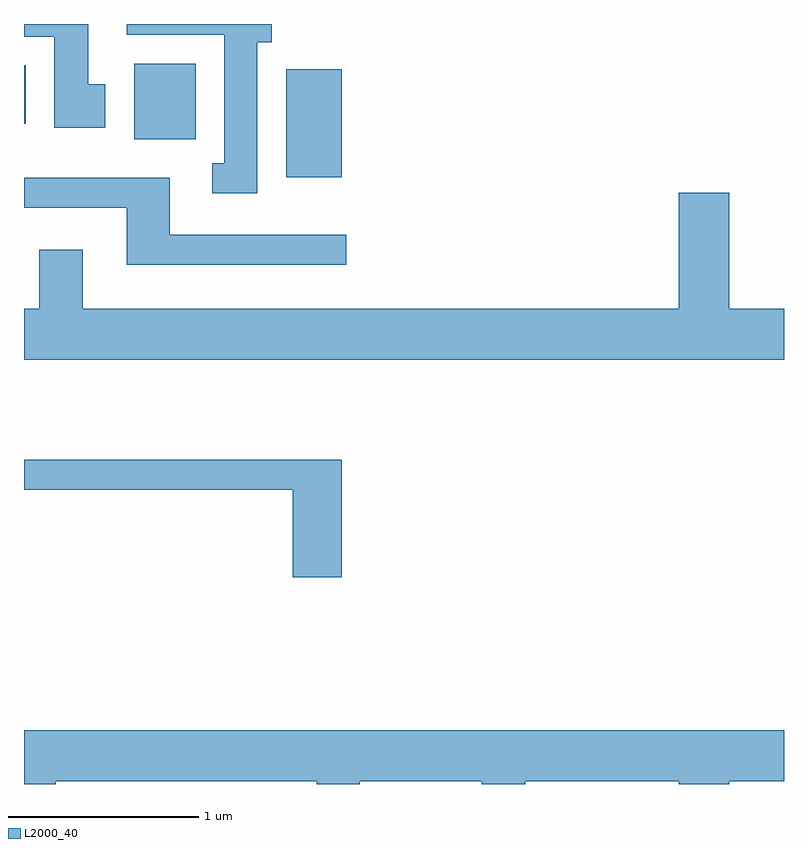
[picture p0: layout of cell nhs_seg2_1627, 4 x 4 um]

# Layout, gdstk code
import gdstk
lib = gdstk.Library(unit=1e-6, precision=1e-09)
def R(c, l, rs):  # rectangles x0, y0, x1, y1
    for r in rs: c.add(gdstk.rectangle(r[:2], r[2:], *l))
def P(c, l, *ps):  # polygons
    for p in ps: c.add(gdstk.Polygon(p, *l))
L2000_40 = (2000, 40)

nhs_seg2_1627 = lib.new_cell('nhs_seg2_1627')
R(nhs_seg2_1627, L2000_40, [(232.991,1106.996,233.284,1107.564), (232.191,1107.196,232.514,1107.594), (231.611,1107.276,231.619,1107.584)])
P(nhs_seg2_1627, L2000_40, [(232.839,1107.706),(232.914,1107.706),(232.914,1107.802),(232.151,1107.802),(232.151,1107.746),(232.666,1107.746),(232.666,1107.069),(232.603,1107.069),(232.603,1106.911),(232.839,1106.911)],
  [(232.039,1107.484),(231.949,1107.484),(231.949,1107.802),(231.611,1107.802),(231.611,1107.736),(231.771,1107.736),(231.771,1107.256),(232.039,1107.256)],
  [(233.308,1106.694),(232.379,1106.694),(232.379,1106.994),(231.611,1106.994),(231.611,1106.836),(232.151,1106.836),(232.151,1106.536),(233.308,1106.536)],
  [(235.056,1106.914),(235.056,1106.304),(231.919,1106.304),(231.919,1106.614),(231.691,1106.614),(231.691,1106.304),(231.611,1106.304),(231.611,1106.036),(235.611,1106.036),(235.611,1106.304),(235.324,1106.304),(235.324,1106.914)],
  [(233.284,1105.509),(231.611,1105.509),(231.611,1105.351),(233.026,1105.351),(233.026,1104.891),(233.284,1104.891)],
  [(231.779,1103.816),(233.151,1103.816),(233.151,1103.802),(233.379,1103.802),(233.379,1103.816),(234.021,1103.816),(234.021,1103.802),(234.249,1103.802),(234.249,1103.816),(235.056,1103.816),(235.056,1103.802),(235.324,1103.802),(235.324,1103.816),(235.611,1103.816),(235.611,1104.084),(231.611,1104.084),(231.611,1103.802),(231.779,1103.802)])

lib.write_gds('nhs_seg2_1627.gds')
